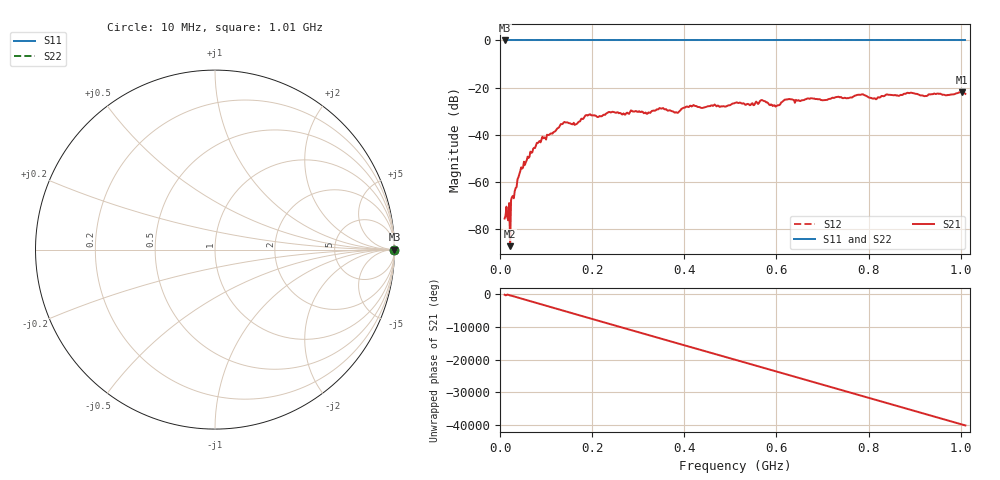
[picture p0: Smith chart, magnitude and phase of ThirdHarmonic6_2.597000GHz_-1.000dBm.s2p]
! 8/17/2025 5:36:06 AM
! C:\ANRITSUVNA\TEMP\TEMP.S2P
! CHANNEL.1
! TR.MEASUREMENT
! RAW.DATA
! RF.CORRECTION.OFF
! AVERAGING.OFF
! IF.BANDWIDTH: 5KHZ
! SWEEPTYPE:  FREQ.SWEEP(Linear)
! Reference Plane Port Info
! PORT:  PORT1  PORT2
! DISTANCE:  0  m  0  m
! TIME:  0  s  0  s
! PHASE.OFFSET:  0  deg.  0  deg.
! LOSS:  0  dB  0  dB
! REF.LOSS:  0  dB  0  dB
! REF.FREQ:  0  Hz  0  Hz
! Power Info
! POWER:  -20  dBm  -20  dBm
! EFF.POWER:  -20  dBm  -20  dBm
! SOURCE.ATTEN:  0  dB  0  dB
! TEST.ATTEN:  0  dB  0  dB
# GHZ S RI R 50.0
! FREQ.GHZ  S11RE  S11IM  S21RE  S21IM  S12RE  S12IM  S22RE  S22IM
!; PortSelection: Port_12
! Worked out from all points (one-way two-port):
!   501 points, 10 MHz to 1.01 GHz, reference 50 ohm
!   highest |S21| = -21.87 dB at 1.002 GHz (marker M1); lowest = -87.1 dB at 22 MHz (marker M2)
!   lowest |S11| = 0.0 dB at 10 MHz (marker M3)
!   |S11| at or under -10 dB: nowhere
!   |S22| runs from 0.0 to 0.0 dB; largest |S21 - S12| = 1.1
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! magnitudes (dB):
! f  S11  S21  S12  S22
! 10 MHz  0.0  -75.4  0.0  0.0
! 18 MHz  0.0  -76.2  0.0  0.0
! 22 MHz  0.0  -87.1  0.0  0.0
! 42 MHz  0.0  -56.7  0.0  0.0
! 82 MHz  0.0  -43.4  0.0  0.0
! 136 MHz  0.0  -35.3  0.0  0.0
! 166 MHz  0.0  -35.4  0.0  0.0
! 178 MHz  0.0  -33.1  0.0  0.0
! 192 MHz  0.0  -31.6  0.0  0.0
! 322 MHz  0.0  -30.5  0.0  0.0
! 344 MHz  0.0  -29.1  0.0  0.0
! 382 MHz  0.0  -30.4  0.0  0.0
! 416 MHz  0.0  -27.9  0.0  0.0
! 510 MHz  0.0  -26.4  0.0  0.0
! 570 MHz  0.0  -25.4  0.0  0.0
! 596 MHz  0.0  -27.4  0.0  0.0
! 622 MHz  0.0  -24.9  0.0  0.0
! 678 MHz  0.0  -24.5  0.0  0.0
! 814 MHz  0.0  -24.6  0.0  0.0
! 844 MHz  0.0  -23.0  0.0  0.0
! 1.002 GHz  0.0  -21.9  0.0  0.0
! 1.01 GHz  0.0  -22.6  0.0  0.0
